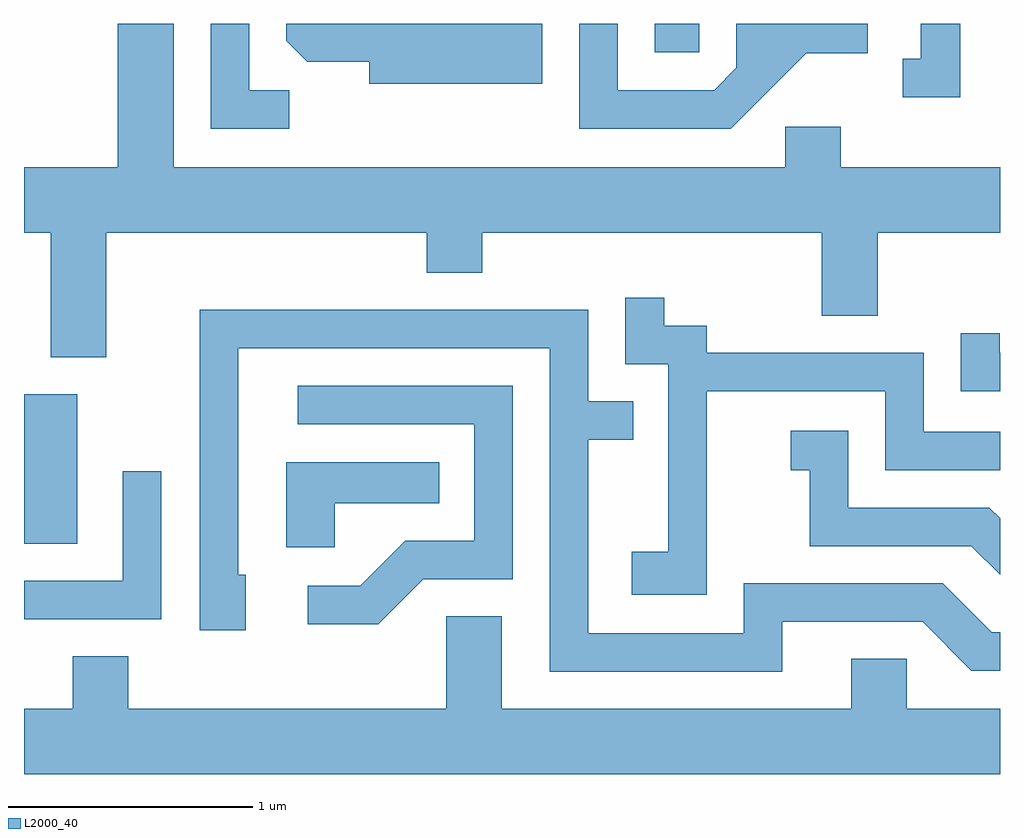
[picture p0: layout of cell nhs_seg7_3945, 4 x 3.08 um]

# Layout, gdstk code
import gdstk
lib = gdstk.Library(unit=1e-6, precision=1e-09)
def R(c, l, rs):  # rectangles x0, y0, x1, y1
    for r in rs: c.add(gdstk.rectangle(r[:2], r[2:], *l))
def P(c, l, *ps):  # polygons
    for p in ps: c.add(gdstk.Polygon(p, *l))
L2000_40 = (2000, 40)

nhs_seg7_3945 = lib.new_cell('nhs_seg7_3945')
R(nhs_seg7_3945, L2000_40, [(305.611,1744.121,305.829,1744.734), (308.196,1746.136,308.379,1746.252)])
P(nhs_seg7_3945, L2000_40, [(309.449,1746.252),(309.286,1746.252),(309.286,1746.109),(309.213,1746.109),(309.213,1745.951),(309.449,1745.951)],
  [(307.734,1746.252),(306.686,1746.252),(306.686,1746.182),(306.772,1746.096),(307.026,1746.096),(307.026,1746.006),(307.734,1746.006)],
  [(305.949,1745.396),(307.261,1745.396),(307.261,1745.231),(307.489,1745.231),(307.489,1745.396),(308.881,1745.396),(308.881,1745.056),(309.109,1745.056),(309.109,1745.396),(309.611,1745.396),(309.611,1745.664),(308.959,1745.664),(308.959,1745.829),(308.731,1745.829),(308.731,1745.664),(306.224,1745.664),(306.224,1746.252),(305.996,1746.252),(305.996,1745.664),(305.611,1745.664),(305.611,1745.396),(305.721,1745.396),(305.721,1744.886),(305.949,1744.886)],
  [(306.698,1745.979),(306.534,1745.979),(306.534,1746.252),(306.376,1746.252),(306.376,1745.821),(306.698,1745.821)],
  [(308.817,1746.131),(309.069,1746.131),(309.069,1746.252),(308.531,1746.252),(308.531,1746.072),(308.439,1745.979),(308.044,1745.979),(308.044,1746.252),(307.886,1746.252),(307.886,1745.821),(308.507,1745.821)],
  [(308.409,1744.746),(309.141,1744.746),(309.141,1744.421),(309.611,1744.421),(309.611,1744.579),(309.299,1744.579),(309.299,1744.904),(308.409,1744.904),(308.409,1745.014),(308.234,1745.014),(308.234,1745.128),(308.076,1745.128),(308.076,1744.856),(308.251,1744.856),(308.251,1744.089),(308.101,1744.089),(308.101,1743.911),(308.409,1743.911)],
  [(308.719,1743.801),(309.294,1743.801),(309.494,1743.601),(309.611,1743.601),(309.611,1743.759),(309.577,1743.759),(309.377,1743.959),(308.561,1743.959),(308.561,1743.754),(307.924,1743.754),(307.924,1744.546),(308.108,1744.546),(308.108,1744.704),(307.924,1744.704),(307.924,1745.079),(306.331,1745.079),(306.331,1743.766),(306.519,1743.766),(306.519,1743.994),(306.489,1743.994),(306.489,1744.921),(307.766,1744.921),(307.766,1743.596),(308.719,1743.596)],
  [(309.611,1744.904),(309.609,1744.904),(309.609,1744.983),(309.451,1744.983),(309.451,1744.746),(309.611,1744.746)],
  [(307.247,1743.976),(307.614,1743.976),(307.614,1744.769),(306.733,1744.769),(306.733,1744.611),(307.456,1744.611),(307.456,1744.134),(307.174,1744.134),(306.989,1743.949),(306.773,1743.949),(306.773,1743.791),(307.062,1743.791)],
  [(309.611,1744.225),(309.567,1744.269),(308.989,1744.269),(308.989,1744.584),(308.753,1744.584),(308.753,1744.421),(308.831,1744.421),(308.831,1744.111),(309.494,1744.111),(309.611,1743.994)],
  [(306.884,1744.286),(307.313,1744.286),(307.313,1744.454),(306.686,1744.454),(306.686,1744.106),(306.884,1744.106)],
  [(306.174,1744.418),(306.016,1744.418),(306.016,1743.969),(305.611,1743.969),(305.611,1743.811),(306.174,1743.811)],
  [(309.611,1743.444),(309.229,1743.444),(309.229,1743.649),(309.001,1743.649),(309.001,1743.444),(307.569,1743.444),(307.569,1743.824),(307.341,1743.824),(307.341,1743.444),(306.039,1743.444),(306.039,1743.659),(305.811,1743.659),(305.811,1743.444),(305.611,1743.444),(305.611,1743.176),(309.611,1743.176)])

lib.write_gds('nhs_seg7_3945.gds')
